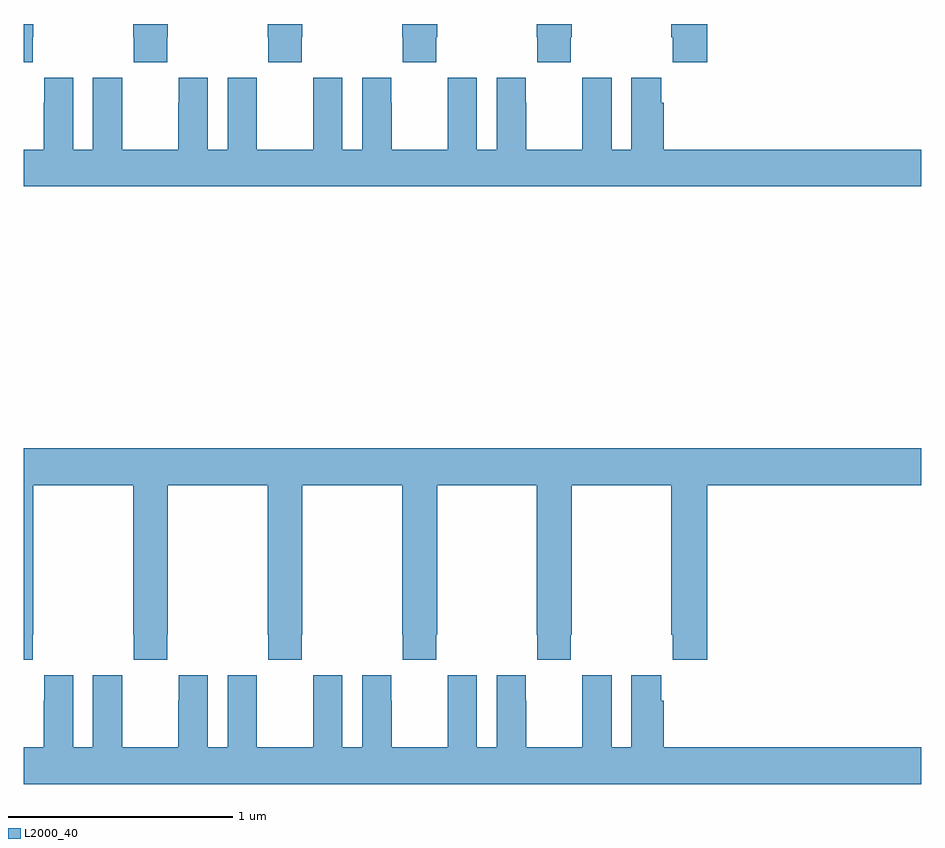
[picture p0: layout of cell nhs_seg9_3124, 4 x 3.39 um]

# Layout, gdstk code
import gdstk
lib = gdstk.Library(unit=1e-6, precision=1e-09)
def P(c, l, *ps):  # polygons
    for p in ps: c.add(gdstk.Polygon(p, *l))
L2000_40 = (2000, 40)

nhs_seg9_3124 = lib.new_cell('nhs_seg9_3124')
P(nhs_seg9_3124, L2000_40, [(291.639,1174.441),(291.642,1174.441),(291.642,1174.5),(291.487,1174.5),(291.487,1174.441),(291.489,1174.441),(291.489,1174.329),(291.639,1174.329)],
  [(292.239,1174.441),(292.242,1174.441),(292.242,1174.5),(292.087,1174.5),(292.087,1174.441),(292.089,1174.441),(292.089,1174.329),(292.239,1174.329)],
  [(292.839,1174.441),(292.842,1174.441),(292.842,1174.5),(292.687,1174.5),(292.687,1174.441),(292.689,1174.441),(292.689,1174.329),(292.839,1174.329)],
  [(293.439,1174.441),(293.442,1174.441),(293.442,1174.5),(293.287,1174.5),(293.287,1174.441),(293.289,1174.441),(293.289,1174.329),(293.439,1174.329)],
  [(294.047,1174.5),(293.887,1174.5),(293.887,1174.441),(293.893,1174.441),(293.893,1174.329),(294.047,1174.329)],
  [(291.039,1174.441),(291.042,1174.441),(291.042,1174.5),(291,1174.5),(291,1174.329),(291.039,1174.329)],
  [(295,1173.94),(293.852,1173.94),(293.852,1174.148),(293.842,1174.148),(293.842,1174.261),(293.708,1174.261),(293.708,1173.94),(293.62,1173.94),(293.62,1174.261),(293.49,1174.261),(293.49,1174.148),(293.489,1174.148),(293.489,1173.94),(293.239,1173.94),(293.239,1174.148),(293.238,1174.148),(293.238,1174.261),(293.108,1174.261),(293.108,1173.94),(293.02,1173.94),(293.02,1174.261),(292.89,1174.261),(292.89,1174.148),(292.889,1174.148),(292.889,1173.94),(292.639,1173.94),(292.639,1174.148),(292.638,1174.148),(292.638,1174.261),(292.508,1174.261),(292.508,1173.94),(292.42,1173.94),(292.42,1174.261),(292.29,1174.261),(292.29,1174.148),(292.289,1174.148),(292.289,1173.94),(292.039,1173.94),(292.039,1174.148),(292.038,1174.148),(292.038,1174.261),(291.908,1174.261),(291.908,1173.94),(291.82,1173.94),(291.82,1174.261),(291.69,1174.261),(291.69,1174.148),(291.689,1174.148),(291.689,1173.94),(291.439,1173.94),(291.439,1174.148),(291.438,1174.148),(291.438,1174.261),(291.308,1174.261),(291.308,1173.94),(291.22,1173.94),(291.22,1174.261),(291.09,1174.261),(291.09,1174.148),(291.089,1174.148),(291.089,1173.94),(291,1173.94),(291,1173.776),(295,1173.776)],
  [(291.039,1171.777),(291.042,1171.777),(291.042,1172.444),(291.487,1172.444),(291.487,1171.777),(291.489,1171.777),(291.489,1171.665),(291.639,1171.665),(291.639,1171.777),(291.642,1171.777),(291.642,1172.444),(292.087,1172.444),(292.087,1171.777),(292.089,1171.777),(292.089,1171.665),(292.239,1171.665),(292.239,1171.777),(292.242,1171.777),(292.242,1172.444),(292.687,1172.444),(292.687,1171.777),(292.689,1171.777),(292.689,1171.665),(292.839,1171.665),(292.839,1171.777),(292.842,1171.777),(292.842,1172.444),(293.287,1172.444),(293.287,1171.777),(293.289,1171.777),(293.289,1171.665),(293.439,1171.665),(293.439,1171.777),(293.442,1171.777),(293.442,1172.444),(293.887,1172.444),(293.887,1171.777),(293.893,1171.777),(293.893,1171.665),(294.047,1171.665),(294.047,1172.444),(295,1172.444),(295,1172.608),(291,1172.608),(291,1171.665),(291.039,1171.665)],
  [(295,1171.276),(293.852,1171.276),(293.852,1171.484),(293.842,1171.484),(293.842,1171.597),(293.708,1171.597),(293.708,1171.276),(293.62,1171.276),(293.62,1171.597),(293.49,1171.597),(293.49,1171.484),(293.489,1171.484),(293.489,1171.276),(293.239,1171.276),(293.239,1171.484),(293.238,1171.484),(293.238,1171.597),(293.108,1171.597),(293.108,1171.276),(293.02,1171.276),(293.02,1171.597),(292.89,1171.597),(292.89,1171.484),(292.889,1171.484),(292.889,1171.276),(292.639,1171.276),(292.639,1171.484),(292.638,1171.484),(292.638,1171.597),(292.508,1171.597),(292.508,1171.276),(292.42,1171.276),(292.42,1171.597),(292.29,1171.597),(292.29,1171.484),(292.289,1171.484),(292.289,1171.276),(292.039,1171.276),(292.039,1171.484),(292.038,1171.484),(292.038,1171.597),(291.908,1171.597),(291.908,1171.276),(291.82,1171.276),(291.82,1171.597),(291.69,1171.597),(291.69,1171.484),(291.689,1171.484),(291.689,1171.276),(291.439,1171.276),(291.439,1171.484),(291.438,1171.484),(291.438,1171.597),(291.308,1171.597),(291.308,1171.276),(291.22,1171.276),(291.22,1171.597),(291.09,1171.597),(291.09,1171.484),(291.089,1171.484),(291.089,1171.276),(291,1171.276),(291,1171.112),(295,1171.112)])

lib.write_gds('nhs_seg9_3124.gds')
